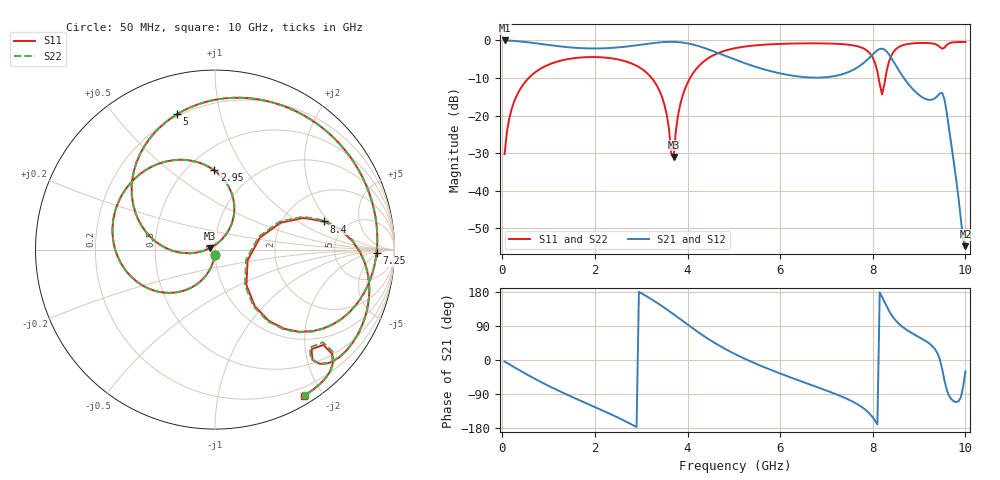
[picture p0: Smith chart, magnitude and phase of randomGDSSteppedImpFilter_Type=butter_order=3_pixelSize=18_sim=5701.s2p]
! freq	dB(S11)	phase(S11)	dB(S12)	phase(S12)
!  dB(S21)	phase(S21)	dB(S22)	phase(S22)
!S-par simulation data
#  GHz  S  DB  R 50
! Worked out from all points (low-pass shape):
!   200 points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, 50 MHz to 10 GHz, reference 50 ohm
!   highest |S21| = -0.01 dB at 50 MHz (marker M1); lowest = -54.8 dB at 10 GHz (marker M2)
!   |S21| within 3 dB of the highest: start of sweep to 4.585 GHz; 8.062 GHz to 8.304 GHz (242.1 MHz wide, 2.96 % of centre)
!   lowest |S11| = -31.0 dB at 3.7 GHz (marker M3), VSWR 1.06, Z = 47.4 + j0.875 ohm
!   |S11| at or under -10 dB: start of sweep to 571.5 MHz; 3.224 GHz to 4.055 GHz (831.2 MHz wide, 22.8 % of centre); 8.126 GHz to 8.274 GHz (147.5 MHz wide, 1.8 % of centre)
!   |S22| runs from -31.2 to -0.4 dB; largest |S21 - S12| = 0
!   S11 on the Smith chart (normalised r, x): 50 MHz: 0.99, -0.06; 2.95 GHz: 0.67, +0.73; 5 GHz: 0.19, +0.74; 7.25 GHz: 18, -4; 8.4 GHz: 3.39, +1.76; 10 GHz: 0.10, -1.78
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0.05  -30.28 -93.7  -0.01 -3.7  -0.01 -3.7  -30.28 -93.7
0.2  -18.37 -105.1  -0.09 -14.7  -0.09 -14.7  -18.37 -105.1
0.5  -10.98 -126.5  -0.42 -36.0  -0.42 -36.0  -10.98 -126.5
1.75  -4.49 158.9  -2.08 -110.7  -2.08 -110.7  -4.49 158.9
2.95  -7.10 90.6  -1.22 179.7  -1.22 179.7  -7.10 90.6
3.4  -13.55 60.4  -0.53 146.3  -0.53 146.3  -13.56 60.3
3.7  -31.03 160.8  -0.38 120.6  -0.38 120.6  -31.20 161.9
3.8  -19.59 -170.9  -0.44 111.7  -0.44 111.7  -19.60 -170.4
4.05  -10.11 174.5  -0.90 89.1  -0.90 89.1  -10.11 174.7
4.5  -4.33 139.2  -2.61 51.6  -2.61 51.6  -4.33 139.4
5  -2.13 105.8  -5.00 17.2  -5.00 17.2  -2.13 105.9
5.05  -2.00 102.8  -5.23 14.2  -5.23 14.2  -2.00 102.9
5.75  -1.06 65.5  -8.03 -23.7  -8.03 -23.7  -1.06 65.6
6.7  -0.77 22.9  -9.89 -67.2  -9.89 -67.2  -0.77 22.9
7.25  -0.91 -1.2  -9.30 -92.4  -9.30 -92.4  -0.91 -1.3
7.95  -3.66 -44.2  -4.33 -144.2  -4.33 -144.2  -3.67 -44.7
8.2  -14.39 -17.9  -2.19 166.2  -2.19 166.2  -14.77 -18.0
8.35  -5.63 19.7  -3.72 129.7  -3.72 129.7  -5.66 20.5
8.4  -4.04 14.5  -4.66 119.7  -4.66 119.7  -4.07 15.1
8.75  -0.97 -16.2  -11.31 78.2  -11.31 78.2  -0.97 -16.0
9.5  -2.24 -45.9  -13.95 -24.7  -13.95 -24.7  -2.39 -45.8
10  -0.42 -58.6  -54.77 -30.3  -54.77 -30.3  -0.42 -58.3
